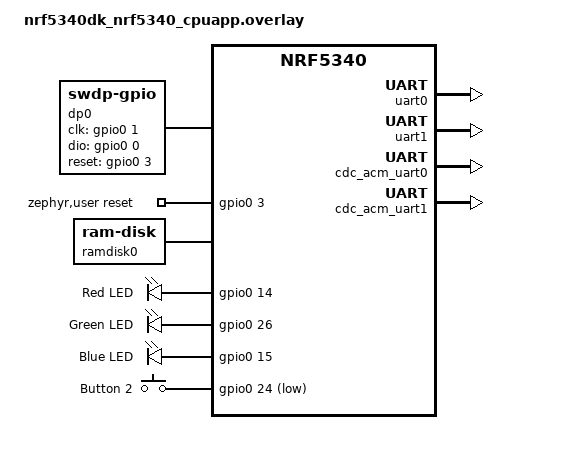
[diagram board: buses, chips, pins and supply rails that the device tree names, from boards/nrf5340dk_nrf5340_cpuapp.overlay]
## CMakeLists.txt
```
#
# Copyright (c) 2020 Nordic Semiconductor
#
# SPDX-License-Identifier: LicenseRef-Nordic-5-Clause
#

cmake_minimum_required(VERSION 3.20.0)

find_package(Zephyr REQUIRED HINTS $ENV{ZEPHYR_BASE})
find_package(Git)
project(NONE)

# NORDIC SDK APP START
target_sources(app PRIVATE src/main.c)
# NORDIC SDK APP END

# Generate a C header file with the readme text as a string variable
set(OUTPUT_README_HEADER_FILE "${CMAKE_BINARY_DIR}/generated/readme/readme.h")
set(INPUT_README_FILE ${CMAKE_SOURCE_DIR}/boards/${NORMALIZED_BOARD_TARGET}_readme.txt)

if(NOT EXISTS ${INPUT_README_FILE})
  message(WARNING "${INPUT_README_FILE} does not exist")
  set(INPUT_README_FILE ${CMAKE_SOURCE_DIR}/README_TEMPLATE.txt)
endif()

file(READ ${INPUT_README_FILE} README_CONTENT)
if(GIT_FOUND)
  execute_process(
        COMMAND ${GIT_EXECUTABLE} rev-parse --short HEAD
        WORKING_DIRECTORY ${CMAKE_SOURCE_DIR}
        OUTPUT_VARIABLE GIT_HASH
        OUTPUT_STRIP_TRAILING_WHITESPACE
  )
  string(TIMESTAMP CURRENT_DATE "%Y-%m-%d")
  string(APPEND README_CONTENT "\nFirmware version: ${GIT_HASH} Build date: ${CURRENT_DATE}")
endif()
string(REPLACE "\"" "\\\"" README_CONTENT "${README_CONTENT}")
string(REPLACE "\n" "\\n\"\n\"" README_CONTENT "${README_CONTENT}")
file(WRITE ${OUTPUT_README_HEADER_FILE} "\"${README_CONTENT}\"")


# Include application events and disk files
zephyr_library_include_directories(
  src/events
  ${CMAKE_BINARY_DIR}/generated/readme
  )

# Application sources
add_subdirectory(src/disk)
add_subdirectory(src/events)
add_subdirectory(src/modules)
```

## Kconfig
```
#
# Copyright (c) 2020 Nordic Semiconductor ASA
#
# SPDX-License-Identifier: LicenseRef-Nordic-5-Clause
#

menu "Connectivity Bridge"
rsource "src/modules/Kconfig"
rsource "src/events/Kconfig"
endmenu

menu "Zephyr Kernel"
source "Kconfig.zephyr"
endmenu
```

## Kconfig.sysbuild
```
#
# Copyright (c) 2023 Nordic Semiconductor
#
# SPDX-License-Identifier: LicenseRef-Nordic-5-Clause
#

source "share/sysbuild/Kconfig"

config NRF_DEFAULT_IPC_RADIO
	default y

config NETCORE_IPC_RADIO_BT_HCI_IPC
	default y

config SECURE_BOOT_NETCORE
	default y if BOARD_THINGY91X_NRF5340_CPUAPP

config SECURE_BOOT_APPCORE
	default y if BOARD_THINGY91X_NRF5340_CPUAPP
```

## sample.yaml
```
sample:
  description: Connectivity Bridge application
  name: Connectivity Bridge
tests:
  applications.connectivity_bridge:
    sysbuild: true
    build_only: true
    platform_allow:
      - thingy91x/nrf5340/cpuapp
    integration_platforms:
      - thingy91x/nrf5340/cpuapp
    tags:
      - ci_build
      - sysbuild
      - ci_applications_connectivity_bridge
```

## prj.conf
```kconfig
# General
CONFIG_REBOOT=y
CONFIG_HEAP_MEM_POOL_SIZE=8192
CONFIG_SYSTEM_WORKQUEUE_STACK_SIZE=2048
CONFIG_MAIN_STACK_SIZE=2048
CONFIG_GPIO=y
CONFIG_POLL=y
CONFIG_BOOTLOADER_MCUBOOT=y
CONFIG_APP_EVENT_MANAGER=y
CONFIG_SPEED_OPTIMIZATIONS=y
CONFIG_PM_DEVICE=y

# Features
CONFIG_BRIDGE_CDC_ENABLE=y
CONFIG_BRIDGE_MSC_ENABLE=y
CONFIG_BRIDGE_BLE_ENABLE=y

 # USB
CONFIG_USB_DEVICE_STACK=y
CONFIG_USB_DEVICE_REMOTE_WAKEUP=n
CONFIG_USB_DEVICE_MANUFACTURER="Nordic Semiconductor"
CONFIG_USB_DEVICE_SN="THINGY91 12PLACEHLDRS" # This is overridden at runtime
CONFIG_USB_COMPOSITE_DEVICE=y
CONFIG_USB_CDC_ACM_RINGBUF_SIZE=16384
# Sample uses deprecated code and needs to be ported to the new USB device stack.
CONFIG_WARN_DEPRECATED=n

# Disk and file system
CONFIG_DISK_ACCESS=y
CONFIG_DISK_DRIVER_RAM=y
CONFIG_FILE_SYSTEM=y
CONFIG_FAT_FILESYSTEM_ELM=y
CONFIG_FS_FATFS_LFN=y

# Settings
CONFIG_FCB=y
CONFIG_SETTINGS=y
CONFIG_SETTINGS_FCB=y
CONFIG_FLASH=y
CONFIG_FLASH_PAGE_LAYOUT=y
CONFIG_FLASH_MAP=y
CONFIG_MPU_ALLOW_FLASH_WRITE=y

# Logging
CONFIG_LOG=y
CONFIG_USE_SEGGER_RTT=y
CONFIG_LOG_BACKEND_RTT=y
CONFIG_LOG_BACKEND_RTT_MODE_DROP=y

# Event logs
CONFIG_BRIDGE_LOG_MODULE_STATE_EVENT=n
CONFIG_BRIDGE_LOG_UART_DATA_EVENT=n
CONFIG_BRIDGE_LOG_CDC_DATA_EVENT=n
CONFIG_BRIDGE_LOG_BLE_DATA_EVENT=n
CONFIG_BRIDGE_LOG_BLE_CTRL_EVENT=n
CONFIG_BRIDGE_LOG_PEER_CONN_EVENT=n
CONFIG_BRIDGE_LOG_FS_EVENT=n
CONFIG_BRIDGE_LOG_POWER_DOWN_EVENT=n

 # UART
CONFIG_SERIAL=y
CONFIG_UART_INTERRUPT_DRIVEN=y
CONFIG_UART_0_INTERRUPT_DRIVEN=n
CONFIG_UART_1_INTERRUPT_DRIVEN=n
CONFIG_UART_LINE_CTRL=y
CONFIG_UART_ASYNC_API=y
CONFIG_UART_0_ASYNC=y
CONFIG_UART_1_ASYNC=y
CONFIG_UART_USE_RUNTIME_CONFIGURE=y
CONFIG_NRFX_UARTE=y
CONFIG_NRFX_TIMER=y
CONFIG_NRFX_GPPI=y

CONFIG_HW_ID_LIBRARY=y
CONFIG_RESET_ON_FATAL_ERROR=y
CONFIG_ASSERT=y
CONFIG_POWEROFF=y
```

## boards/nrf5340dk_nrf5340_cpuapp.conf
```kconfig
CONFIG_RETENTION_BOOT_MODE=y

CONFIG_USB_MAX_POWER=250
CONFIG_USB_DEVICE_PRODUCT="Connectivity Bridge"

CONFIG_USB_DEVICE_VID=0x1915
CONFIG_USB_DEVICE_PID=0x910A

CONFIG_USB_MAX_NUM_TRANSFERS=8
CONFIG_BRIDGE_CMSIS_DAP_BULK_ENABLE=y
CONFIG_RETENTION_BOOT_MODE=y
CONFIG_REBOOT=y
CONFIG_GPIO=y

CONFIG_DK_LIBRARY=y
CONFIG_DAP=y
CONFIG_DP_DRIVER=y

CONFIG_CMSIS_DAP_DEVICE_VENDOR="Nordic Semiconductor ASA"

CONFIG_NET_BUF=y

CONFIG_CLOCK_CONTROL_NRF_K32SRC_SYNTH=y

CONFIG_BOARD_ENABLE_DCDC_APP=n
CONFIG_BOARD_ENABLE_DCDC_NET=n
CONFIG_BOARD_ENABLE_DCDC_HV=n

CONFIG_NFCT_PINS_AS_GPIOS=y
CONFIG_SOC_ENABLE_LFXO=n
```

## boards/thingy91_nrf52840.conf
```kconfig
CONFIG_BT=y
CONFIG_BT_DEVICE_NAME="Thingy:91 UART"
CONFIG_BT_DEVICE_NAME_DYNAMIC=y
CONFIG_BT_PERIPHERAL=y
CONFIG_BT_PERIPHERAL_PREF_MIN_INT=6
CONFIG_BT_PERIPHERAL_PREF_MAX_INT=16
CONFIG_BT_PERIPHERAL_PREF_LATENCY=0
CONFIG_BT_PERIPHERAL_PREF_TIMEOUT=400
CONFIG_BT_BONDABLE=n
CONFIG_BT_LL_SOFTDEVICE=y
CONFIG_BT_MAX_CONN=1
CONFIG_BT_AUTO_PHY_PERIPHERAL_2M=y
CONFIG_BT_DATA_LEN_UPDATE=y
CONFIG_BT_HCI_ACL_FLOW_CONTROL=y
CONFIG_BT_L2CAP_TX_MTU=247
CONFIG_BT_BUF_ACL_RX_SIZE=251
CONFIG_BT_NUS=y
CONFIG_BT_GATT_CLIENT=y
CONFIG_BT_SMP=y
CONFIG_BT_CTLR_RX_BUFFERS=10
CONFIG_BT_BUF_EVT_RX_COUNT=11
CONFIG_BT_BUF_ACL_TX_COUNT=10
CONFIG_BT_BUF_ACL_TX_SIZE=251
CONFIG_BT_CTLR_DATA_LENGTH_MAX=251

CONFIG_USB_MAX_POWER=250
CONFIG_USB_DEVICE_PRODUCT="Thingy:91 UART"

CONFIG_USB_DEVICE_VID=0x1915
CONFIG_USB_DEVICE_PID=0x9100

CONFIG_USB_MAX_NUM_TRANSFERS=8
CONFIG_BRIDGE_CMSIS_DAP_BULK_ENABLE=y

CONFIG_DAP=y
CONFIG_DP_DRIVER=y

CONFIG_CMSIS_DAP_DEVICE_VENDOR="Nordic Semiconductor ASA"
CONFIG_CMSIS_DAP_DEVICE_NAME="nrf91"

CONFIG_USB_CDC_ACM_RINGBUF_SIZE=12280

# Reduce logging to save flash space
CONFIG_LOG_MAX_LEVEL=1
```

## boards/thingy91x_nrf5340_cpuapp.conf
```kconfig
CONFIG_BT=y
CONFIG_BT_DEVICE_NAME="Thingy:91 X UART"
CONFIG_BT_DEVICE_NAME_DYNAMIC=y
CONFIG_BT_PERIPHERAL=y
CONFIG_BT_PERIPHERAL_PREF_MIN_INT=6
CONFIG_BT_PERIPHERAL_PREF_MAX_INT=16
CONFIG_BT_PERIPHERAL_PREF_LATENCY=0
CONFIG_BT_PERIPHERAL_PREF_TIMEOUT=400
CONFIG_BT_BONDABLE=n

CONFIG_BT_MAX_CONN=1
CONFIG_BT_AUTO_PHY_PERIPHERAL_2M=y
CONFIG_BT_DATA_LEN_UPDATE=y
CONFIG_BT_HCI_ACL_FLOW_CONTROL=y
CONFIG_BT_L2CAP_TX_MTU=247
CONFIG_BT_BUF_ACL_RX_SIZE=251
CONFIG_BT_NUS=y
CONFIG_BT_GATT_CLIENT=y
CONFIG_BT_SMP=y
CONFIG_BT_BUF_EVT_RX_COUNT=11
CONFIG_BT_BUF_ACL_TX_COUNT=10
CONFIG_BT_BUF_ACL_TX_SIZE=251

CONFIG_USB_MAX_POWER=250
CONFIG_USB_DEVICE_PRODUCT="Thingy:91 X UART"

CONFIG_USB_DEVICE_VID=0x1915
CONFIG_USB_DEVICE_PID=0x910A

CONFIG_USB_MAX_NUM_TRANSFERS=8
CONFIG_BRIDGE_CMSIS_DAP_BULK_ENABLE=y
CONFIG_RETENTION_BOOT_MODE=y
CONFIG_REBOOT=y
CONFIG_GPIO=y

CONFIG_DK_LIBRARY=y

# Bootloader firmware information
CONFIG_FW_INFO=y
CONFIG_SECURE_BOOT_STORAGE=y
CONFIG_DAP=y
CONFIG_DP_DRIVER=y

CONFIG_CMSIS_DAP_DEVICE_VENDOR="Nordic Semiconductor ASA"
CONFIG_CMSIS_DAP_DEVICE_NAME="nrf91"

CONFIG_BRIDGE_CMSIS_DAP_NORDIC_COMMANDS=y

# Reduce logging to save flash space
CONFIG_LOG=n
CONFIG_USE_SEGGER_RTT=n
CONFIG_LOG_BACKEND_RTT=n
CONFIG_LOG_BACKEND_RTT_MODE_DROP=n
CONFIG_CONSOLE=n
CONFIG_UART_CONSOLE=n
```

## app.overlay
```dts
/*
 * Copyright (c) 2023 Nordic Semiconductor ASA
 *
 * SPDX-License-Identifier: LicenseRef-Nordic-5-Clause
 */

&uart1 {
	status = "okay";
};

&zephyr_udc0 {
	cdc_acm_uart0: cdc_acm_uart0 {
		compatible = "zephyr,cdc-acm-uart";
	};

	cdc_acm_uart1: cdc_acm_uart1 {
		compatible = "zephyr,cdc-acm-uart";
	};

	rtt0: rtt_chan0 {
		compatible = "segger,rtt-uart";
		status = "okay";
	};
};

/ {
	ramdisk0 {
		compatible = "zephyr,ram-disk";
		disk-name = "RAM";
		sector-size = <512>;
		sector-count = <128>;
	};

	chosen {
		zephyr,console = &rtt0;
		zephyr,shell-uart = &rtt0;
		zephyr,uart-mcumgr = &rtt0;
		zephyr,bt-mon-uart = &rtt0;
		zephyr,bt-c2h-uart = &rtt0;
	};
};
```

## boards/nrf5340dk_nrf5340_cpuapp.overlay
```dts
/*
 * Copyright (c) 2023 Nordic Semiconductor ASA
 *
 * SPDX-License-Identifier: LicenseRef-Nordic-5-Clause
 */


/ {
	dp0 {
		compatible = "zephyr,swdp-gpio";
		status = "okay";
		/* SWD0
		clk-gpios = <&gpio1 12 GPIO_ACTIVE_HIGH>;
		dio-gpios = <&gpio1 14 GPIO_ACTIVE_HIGH>;
		reset-gpios = <&gpio0 31 GPIO_ACTIVE_HIGH>;
		*/
		/* SWD1
		clk-gpios = <&gpio0 25 GPIO_ACTIVE_HIGH>;
		dio-gpios = <&gpio0 27 GPIO_ACTIVE_HIGH>;
		reset-gpios = <&gpio1 7 GPIO_ACTIVE_HIGH>;
		*/
		/* SWD2
		clk-gpios = <&gpio1 1 GPIO_ACTIVE_HIGH>;
		dio-gpios = <&gpio1 0 GPIO_ACTIVE_HIGH>;
		reset-gpios = <&gpio0 11 GPIO_ACTIVE_HIGH>;
		*/
		/* SWD3 */
		clk-gpios = <&gpio0 1 GPIO_ACTIVE_HIGH>;
		dio-gpios = <&gpio0 0 GPIO_ACTIVE_HIGH>;
		reset-gpios = <&gpio0 3 GPIO_ACTIVE_HIGH>;
		port-write-cycles = <12>;
	};

	zephyr,user {
		reset-gpios = <&gpio0 3 GPIO_ACTIVE_HIGH>;
	};

	chosen {
		zephyr,console = &rtt0;
		zephyr,shell-uart = &rtt0;
		zephyr,uart-mcumgr = &rtt0;
		zephyr,bt-mon-uart = &rtt0;
		zephyr,bt-c2h-uart = &rtt0;
	};

	ramdisk0 {
		compatible = "zephyr,ram-disk";
		disk-name = "RAM";
		sector-size = <512>;
		sector-count = <128>;
	};

	leds {
		compatible = "gpio-leds";
		led0: led_0 {
			gpios = <&gpio0 14 GPIO_ACTIVE_HIGH>;
			label = "Red LED";
		};
		led1: led_1 {
			gpios = <&gpio0 26 GPIO_ACTIVE_HIGH>;
			label = "Green LED";
		};
		led2: led_2 {
			gpios = <&gpio0 15 GPIO_ACTIVE_HIGH>;
			label = "Blue LED";
		};
	};

	buttons {
		compatible = "gpio-keys";
		button0: button_0 {
			gpios = <&gpio0 24 (GPIO_PULL_UP | GPIO_ACTIVE_LOW)>;
			label = "Button 2";
		};
	};
};

&uart0 {
	status = "okay";
};

&uart1 {
	status = "okay";
};


&zephyr_udc0 {
	cdc_acm_uart0: cdc_acm_uart0 {
		compatible = "zephyr,cdc-acm-uart";
	};

	cdc_acm_uart1: cdc_acm_uart1 {
		compatible = "zephyr,cdc-acm-uart";
	};

	rtt0: rtt_chan0 {
		compatible = "segger,rtt-uart";
		status = "okay";
	};
};


&pinctrl {
	uart0_default: uart0_default {
		group1 {
			psels = <NRF_PSEL(UART_TX, 0, 29)>;
		};
		group2 {
			psels = <NRF_PSEL(UART_RX, 1, 4)>;
			bias-pull-up;
		};
	};

	uart0_sleep: uart0_sleep {
		group1 {
			psels = <NRF_PSEL(UART_TX, 0, 29)>,
				<NRF_PSEL(UART_RX, 1, 4)>;
			low-power-enable;
		};
	};

	uart1_default: uart1_default {
		group1 {
			psels = <NRF_PSEL(UART_TX, 1, 8)>;
		};
		group2 {
			psels = <NRF_PSEL(UART_RX, 1, 6)>;
			bias-pull-up;
		};
	};

	uart1_sleep: uart1_sleep {
		group1 {
			psels = <NRF_PSEL(UART_TX, 1, 8)>,
				<NRF_PSEL(UART_RX, 1, 6)>;
			low-power-enable;
		};
	};
};

&uicr {
	nfct-pins-as-gpios;
};

&gpio_fwd {
	status = "disabled";
};
```

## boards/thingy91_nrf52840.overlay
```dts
/*
 * Copyright (c) 2026 Nordic Semiconductor ASA
 *
 * SPDX-License-Identifier: LicenseRef-Nordic-5-Clause
 */

#include "../partitions/thingy91_nrf52840_memory_map.dtsi"

/ {
	dp0 {
		compatible = "zephyr,swdp-gpio";
		status = "okay";
		clk-gpios = <&gpio1 5 GPIO_ACTIVE_HIGH>;
		dio-gpios = <&gpio0 14 GPIO_ACTIVE_HIGH>;
		noe-gpios = <&gpio0 17 GPIO_ACTIVE_HIGH>;
		port-write-cycles = <2>;
	};

	rtt0: rtt_chan0 {
		compatible = "segger,rtt-uart";
		status = "okay";
	};

	ramdisk0 {
		compatible = "zephyr,ram-disk";
		disk-name = "RAM";
		sector-size = <512>;
		sector-count = <128>;
	};

	chosen {
		zephyr,console = &rtt0;
		zephyr,shell-uart = &rtt0;
		zephyr,uart-mcumgr = &rtt0;
		zephyr,bt-mon-uart = &rtt0;
		zephyr,bt-c2h-uart = &rtt0;
		zephyr,code-partition = &slot0_partition;
	};
};

/* Timer used by UARTE0 for byte counting. */
&timer1 {
	status = "reserved";
};

/* Timer used by UARTE1 for byte counting. */
&timer2 {
	status = "reserved";
};

&uart0 {
	timer = <&timer1>;
};

&uart1 {
	status = "okay";
	timer = <&timer2>;
};

&zephyr_udc0 {
	cdc_acm_uart0: cdc_acm_uart0 {
		compatible = "zephyr,cdc-acm-uart";
	};

	cdc_acm_uart1: cdc_acm_uart1 {
		compatible = "zephyr,cdc-acm-uart";
	};
};
```

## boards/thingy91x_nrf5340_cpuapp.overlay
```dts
/*
 * Copyright (c) 2026 Nordic Semiconductor ASA
 *
 * SPDX-License-Identifier: LicenseRef-Nordic-5-Clause
 */

#include "../partitions/thingy91x_nrf5340_cpuapp_memory_map.dtsi"

/ {
	dp0 {
		compatible = "zephyr,swdp-gpio";
		status = "okay";
		clk-gpios = <&gpio0 25 GPIO_ACTIVE_HIGH>;
		dio-gpios = <&gpio0 27 GPIO_ACTIVE_HIGH>;
		reset-gpios = <&gpio1 7 GPIO_ACTIVE_LOW>;
		port-write-cycles = <12>;
	};

	zephyr,user {
		reset-gpios = <&gpio1 7 GPIO_ACTIVE_HIGH>;
	};

	chosen {
		zephyr,console = &rtt0;
		zephyr,shell-uart = &rtt0;
		zephyr,uart-mcumgr = &rtt0;
		zephyr,bt-mon-uart = &rtt0;
		zephyr,bt-c2h-uart = &rtt0;
	};

	ramdisk0 {
		compatible = "zephyr,ram-disk";
		disk-name = "RAM";
		sector-size = <512>;
		sector-count = <128>;
	};
};

/* Timer used by UARTE0 for byte counting. */
&timer1 {
	status = "reserved";
};

/* Timer used by UARTE1 for byte counting. */
&timer2 {
	status = "reserved";
};

&uart0 {
	status = "okay";
	timer = <&timer1>;
};

&uart1 {
	status = "okay";
	timer = <&timer2>;
};

&zephyr_udc0 {
	cdc_acm_uart0: cdc_acm_uart0 {
		compatible = "zephyr,cdc-acm-uart";
	};

	cdc_acm_uart1: cdc_acm_uart1 {
		compatible = "zephyr,cdc-acm-uart";
	};
};
```

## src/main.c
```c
/*
 * Copyright (c) 2020 Nordic Semiconductor ASA
 *
 * SPDX-License-Identifier: LicenseRef-Nordic-5-Clause
 */

#include <zephyr/kernel.h>

#include <app_event_manager.h>
#include <hw_id.h>

#define MODULE main
#include "module_state_event.h"

#include <zephyr/logging/log.h>
LOG_MODULE_REGISTER(MODULE);

static uint8_t usb_serial_str[] = "THINGY91_12PLACEHLDRS";

/* Overriding weak function to set iSerialNumber at runtime. */
uint8_t *usb_update_sn_string_descriptor(void)
{
#if defined(CONFIG_SOC_SERIES_NRF52)
	snprintk(usb_serial_str, sizeof(usb_serial_str), "THINGY91_%04X%08X",
				(uint32_t)(NRF_FICR->DEVICEADDR[1] & 0x0000FFFF)|0x0000C000,
				(uint32_t)NRF_FICR->DEVICEADDR[0]);
#else
	char buf[HW_ID_LEN] = {0};

	if (!hw_id_get(buf, ARRAY_SIZE(buf))) {
		snprintk(usb_serial_str, sizeof(usb_serial_str), "THINGY91X_%s", buf);
	}
#endif
	return usb_serial_str;
}

int main(void)
{
	if (app_event_manager_init()) {
		LOG_ERR("Application Event Manager not initialized");
	} else {
		module_set_state(MODULE_STATE_READY);
	}
	return 0;
}
```
